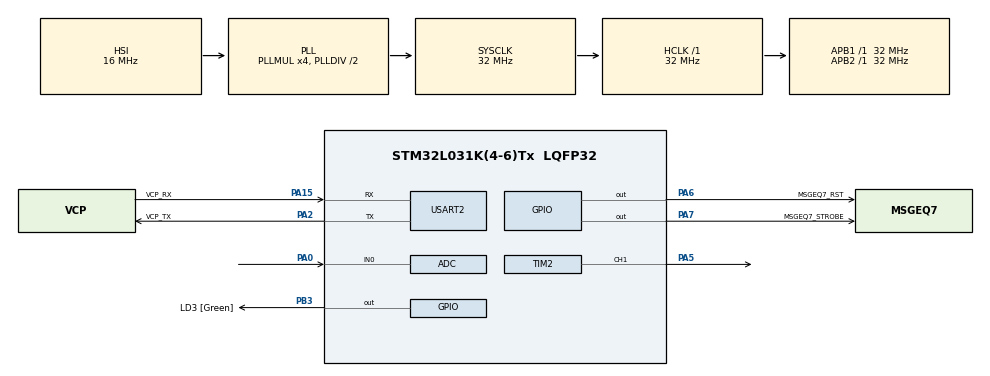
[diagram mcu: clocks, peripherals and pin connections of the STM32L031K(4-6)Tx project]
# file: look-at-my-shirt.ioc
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Dma.Request0=TIM2_CH1
Dma.TIM2_CH1.0.Direction=DMA_MEMORY_TO_PERIPH
Dma.TIM2_CH1.0.Instance=DMA1_Channel5
Dma.TIM2_CH1.0.MemDataAlignment=DMA_MDATAALIGN_BYTE
Dma.TIM2_CH1.0.MemInc=DMA_MINC_ENABLE
Dma.TIM2_CH1.0.Mode=DMA_NORMAL
Dma.TIM2_CH1.0.PeriphDataAlignment=DMA_PDATAALIGN_HALFWORD
Dma.TIM2_CH1.0.PeriphInc=DMA_PINC_DISABLE
Dma.TIM2_CH1.0.Priority=DMA_PRIORITY_LOW
Mcu.Family=STM32L0
Mcu.Name=STM32L031K(4-6)Tx
Mcu.Package=LQFP32
NVIC.DMA1_Channel4_5_6_7_IRQn=true\:0\:0\:false\:false\:true\:false\:true
PA0-CK_IN.Mode=IN0
PA0-CK_IN.Signal=ADC_IN0
PA13.GPIO_Label=TMS
PA13.Mode=Serial_Wire
PA13.Signal=SYS_SWDIO
PA14.GPIO_Label=TCK
PA14.Mode=Serial_Wire
PA14.Signal=SYS_SWCLK
PA15.GPIO_Label=VCP_RX
PA15.Mode=Asynchronous
PA15.Signal=USART2_RX
PA2.GPIO_Label=VCP_TX
PA2.Mode=Asynchronous
PA2.Signal=USART2_TX
PA5.Signal=S_TIM2_CH1
PA6.GPIO_Label=MSGEQ7_RST
PA6.Signal=GPIO_Output
PA7.GPIO_Label=MSGEQ7_STROBE
PA7.Signal=GPIO_Output
PB3.GPIO_Label=LD3 [Green]
PB3.Signal=GPIO_Output
PC14-OSC32_IN.Mode=LSE-External-Oscillator
PC14-OSC32_IN.Signal=RCC_OSC32_IN
PC15-OSC32_OUT.Mode=LSE-External-Oscillator
PC15-OSC32_OUT.Signal=RCC_OSC32_OUT
ProjectManager.HeapSize=0x200
ProjectManager.StackSize=0x400
ProjectManager.TargetToolchain=STM32CubeIDE
RCC.AHBFreq_Value=32000000
RCC.APB1Freq_Value=32000000
RCC.APB1TimFreq_Value=32000000
RCC.APB2Freq_Value=32000000
RCC.APB2TimFreq_Value=32000000
RCC.HCLKFreq_Value=32000000
RCC.HSE_VALUE=8000000
RCC.HSI16_VALUE=16000000
RCC.HSI48_VALUE=48000000
RCC.HSI_VALUE=16000000
RCC.MSI_VALUE=2097000
RCC.PLLMUL=RCC_PLLMUL_4
RCC.SYSCLKFreq_VALUE=32000000
RCC.SYSCLKSource=RCC_SYSCLKSOURCE_PLLCLK
RCC.VCOOutputFreq_Value=64000000
SH.S_TIM2_CH1.0=TIM2_CH1,PWM Generation1 CH1
TIM2.Channel-PWM\ Generation1\ CH1=TIM_CHANNEL_1
TIM2.Period=40-1
USART2.VirtualMode-Asynchronous=VM_ASYNC
board=NUCLEO-L031K6

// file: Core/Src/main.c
/* USER CODE BEGIN Header */
/**
 ******************************************************************************
 * @file           : main.c
 * @brief          : Main program body
 ******************************************************************************
 * @attention
 *
 * Copyright (c) 2023 STMicroelectronics.
 * All rights reserved.
 *
 * This software is licensed under terms that can be found in the LICENSE file
 * in the root directory of this software component.
 * If no LICENSE file comes with this software, it is provided AS-IS.
 *
 ******************************************************************************
 */
/* USER CODE END Header */
#include "main.h"

/* USER CODE BEGIN Includes */
#include <stdbool.h>
#include <stdlib.h>
/* USER CODE END Includes */

ADC_HandleTypeDef hadc;

TIM_HandleTypeDef htim2;
DMA_HandleTypeDef hdma_tim2_ch1;

#if 0
UART_HandleTypeDef huart2;
#endif

void SystemClock_Config(void);
static void MX_GPIO_Init(void);
static void MX_DMA_Init(void);
static void MX_TIM2_Init(void);
static void MX_USART2_UART_Init(void);
static void MX_ADC_Init(void);

/* USER CODE BEGIN 0 */
//select AUDIO_MODE mode or DVD mode
#define AUDIO_MODE 1

#define MAX_LED 256
volatile uint8_t datasentflag = 0;

#define RESET_TIME 1
#define TOTAL_SIZE (24*MAX_LED)+RESET_TIME
uint8_t pwm_data[TOTAL_SIZE] = { 0 };

void clear_all_leds(void) {
	for (int i = 0; i < TOTAL_SIZE - RESET_TIME; ++i) {
		pwm_data[i] = 14;
	}
}

void enable_led(uint8_t led_index, uint8_t red, uint8_t green, uint8_t blue) {
	uint32_t color = blue << 16 | red << 8 | green;
	uint8_t *pwm_data_ptr = &pwm_data[led_index * 24];
	for (int i = 23; i >= 0; i--) {
		if (color & (1 << i)) {
			pwm_data_ptr[i] = 26;  // 2/3 of 90
		}

		else
			pwm_data_ptr[i] = 14;  // 1/3 of 90
	}
}

bool send_ws2812() {
	HAL_TIM_PWM_Start_DMA(&htim2, TIM_CHANNEL_1, (uint32_t*) pwm_data,
	TOTAL_SIZE);
	while (!datasentflag) {
	};

	datasentflag = 0;
	return true;
}

/*!
 * Enable single led, disable all others led
 */
bool enable_single_led(uint8_t led_index, uint8_t red, uint8_t green,
		uint8_t blue) {

	clear_all_leds();
	enable_led(led_index, red, green, blue);
	return send_ws2812();
}

#define MAX_X 16
#define MAX_Y 16

uint8_t get_led_index_from_coordinate(uint8_t x, uint8_t y) {
	uint8_t led_index = 0;

	if (x >= MAX_X || y >= MAX_Y) {
		return false;
	}
	if (y % 2 == 0) {
		led_index = x + (y * MAX_X);
	} else {
		led_index = (y * MAX_X + (MAX_X - 1)) - x;
	}

	return led_index;
}
void HAL_TIM_PWM_PulseFinishedCallback(TIM_HandleTypeDef *htim) {
	HAL_TIM_PWM_Stop_DMA(&htim2, TIM_CHANNEL_1);
	datasentflag = 1;
}

static uint8_t random_color() {
	return rand() % 255 + 10;
}

static void change_color(uint8_t *red, uint8_t *green, uint8_t *blue) {
	*red = random_color();
	*green = random_color();
	*blue = random_color();
}

bool dvd_animation(void) {
	static uint8_t x = 5;
	static uint8_t y = 0;
	static uint8_t dir_y = 1;
	static uint8_t dir_x = 1;

	static uint8_t red = 255;
	static uint8_t green = 0;
	static uint8_t blue = 0;

	uint8_t led_index = get_led_index_from_coordinate(x, y);
	enable_single_led(led_index, red, green, blue);

	if (x >= (MAX_X - 2)) {
		change_color(&red, &green, &blue);
		dir_x = -1;
		if (dir_y == 1) {
			dir_y = 1;
		} else {
			dir_y = -1;
		}
	}
	if (y == (MAX_Y - 1)) {
		change_color(&red, &green, &blue);
		dir_y = -1;
		if (dir_x == 1) {
			dir_x = 1;
		} else {
			dir_x = -1;
		}
	}

	if (x == 1) {
		change_color(&red, &green, &blue);
		dir_x = 1;
		if (dir_y == 1) {
			dir_y = 1;
		} else {
			dir_y = -1;
		}

	}

	if (y == 0) {
		change_color(&red, &green, &blue);
		dir_y = 1;
		if (dir_x == 1) {
			dir_x = 1;
		} else {
			dir_x = -1;
		}

	}

	x += dir_x;
	y += dir_y;

	return true;
}

#if AUDIO_MODE
#define NUM_FRQ 7
uint8_t frequence_table[NUM_FRQ];

bool audio_animation(uint8_t frequence_table[NUM_FRQ]) {

	for (int frq_index = 0; frq_index < NUM_FRQ; ++frq_index) {
		int8_t amplitude = frequence_table[frq_index];
		amplitude = amplitude < 16 ? amplitude : 16;
		for (int amp = 0; amp < amplitude; ++amp) {
			int8_t led_index = get_led_index_from_coordinate(
					(frq_index * 2) + 2, amp);
			if (amp > 12) {
				enable_led(led_index, 0x60, 0, 0); //red
			} else if (amp > 7) {
				enable_led(led_index, 0x60, 0x60, 0); //orange
			} else {
				enable_led(led_index, 0, 0x60, 0); // green
			}
		}
	}
	send_ws2812();
	return true;

}

static void MSGEQ7_reset(void) {
	HAL_GPIO_WritePin(MSGEQ7_STROBE_GPIO_Port, MSGEQ7_STROBE_Pin, 1);
	HAL_GPIO_WritePin(MSGEQ7_RST_GPIO_Port, MSGEQ7_RST_Pin, 0);
	HAL_GPIO_WritePin(MSGEQ7_RST_GPIO_Port, MSGEQ7_RST_Pin, 1);
	HAL_Delay(1);
	HAL_GPIO_WritePin(MSGEQ7_RST_GPIO_Port, MSGEQ7_RST_Pin, 0);
}

static uint16_t read_adc(void) {
	HAL_ADC_Start(&hadc);
	HAL_ADC_PollForConversion(&hadc, 1);
	return HAL_ADC_GetValue(&hadc);
}
#endif

/* USER CODE END 0 */

int main(void) {

	/* MCU Configuration--------------------------------------------------------*/

	/* Reset of all peripherals, Initializes the Flash interface and the Systick. */
	HAL_Init();

	/* Configure the system clock */
	SystemClock_Config();

	/* Initialize all configured peripherals */
	MX_GPIO_Init();
	MX_DMA_Init();
	MX_TIM2_Init();
#if 0
	MX_USART2_UART_Init();
#endif
#if AUDIO_MODE
	MX_ADC_Init();
#endif

	/* Infinite loop */
	/* USER CODE BEGIN WHILE */
	while (1) {
#if AUDIO_MODE
		MSGEQ7_reset();
		uint8_t frq[7] = { 0 };
		for (int i = 0; i < 7; ++i) {
			HAL_GPIO_WritePin(MSGEQ7_STROBE_GPIO_Port, MSGEQ7_STROBE_Pin, 0);
			HAL_Delay(1);
			frq[i] = read_adc() / 200;
			HAL_GPIO_WritePin(MSGEQ7_STROBE_GPIO_Port, MSGEQ7_STROBE_Pin, 1);
			HAL_Delay(1);

		}
		clear_all_leds();
		audio_animation(frq);
		HAL_Delay(1);
#else
		dvd_animation();
		HAL_Delay(50);

#endif
		/* USER CODE END WHILE */

	}
}

void SystemClock_Config(void) {
	RCC_OscInitTypeDef RCC_OscInitStruct = { 0 };
	RCC_ClkInitTypeDef RCC_ClkInitStruct = { 0 };
	RCC_PeriphCLKInitTypeDef PeriphClkInit = { 0 };

	/** Configure the main internal regulator output voltage
	 */
	__HAL_PWR_VOLTAGESCALING_CONFIG(PWR_REGULATOR_VOLTAGE_SCALE1);
	/** Initializes the RCC Oscillators according to the specified parameters
	 * in the RCC_OscInitTypeDef structure.
	 */
	RCC_OscInitStruct.OscillatorType = RCC_OSCILLATORTYPE_HSI;
	RCC_OscInitStruct.HSIState = RCC_HSI_ON;
	RCC_OscInitStruct.HSICalibrationValue = RCC_HSICALIBRATION_DEFAULT;
	RCC_OscInitStruct.PLL.PLLState = RCC_PLL_ON;
	RCC_OscInitStruct.PLL.PLLSource = RCC_PLLSOURCE_HSI;
	RCC_OscInitStruct.PLL.PLLMUL = RCC_PLLMUL_4;
	RCC_OscInitStruct.PLL.PLLDIV = RCC_PLLDIV_2;
	if (HAL_RCC_OscConfig(&RCC_OscInitStruct) != HAL_OK) {
		Error_Handler();
	}
	/** Initializes the CPU, AHB and APB buses clocks
	 */
	RCC_ClkInitStruct.ClockType = RCC_CLOCKTYPE_HCLK | RCC_CLOCKTYPE_SYSCLK
			| RCC_CLOCKTYPE_PCLK1 | RCC_CLOCKTYPE_PCLK2;
	RCC_ClkInitStruct.SYSCLKSource = RCC_SYSCLKSOURCE_PLLCLK;
	RCC_ClkInitStruct.AHBCLKDivider = RCC_SYSCLK_DIV1;
	RCC_ClkInitStruct.APB1CLKDivider = RCC_HCLK_DIV1;
	RCC_ClkInitStruct.APB2CLKDivider = RCC_HCLK_DIV1;

	if (HAL_RCC_ClockConfig(&RCC_ClkInitStruct, FLASH_LATENCY_1) != HAL_OK) {
		Error_Handler();
	}
	PeriphClkInit.PeriphClockSelection = RCC_PERIPHCLK_USART2;
	PeriphClkInit.Usart2ClockSelection = RCC_USART2CLKSOURCE_PCLK1;
	if (HAL_RCCEx_PeriphCLKConfig(&PeriphClkInit) != HAL_OK) {
		Error_Handler();
	}
}
#if AUDIO_MODE
static void MX_ADC_Init(void) {

	ADC_ChannelConfTypeDef sConfig = { 0 };

	/** Configure the global features of the ADC (Clock, Resolution, Data Alignment and number of conversion)
	 */
	hadc.Instance = ADC1;
	hadc.Init.OversamplingMode = DISABLE;
	hadc.Init.ClockPrescaler = ADC_CLOCK_SYNC_PCLK_DIV2;
	hadc.Init.Resolution = ADC_RESOLUTION_12B;
	hadc.Init.SamplingTime = ADC_SAMPLETIME_1CYCLE_5;
	hadc.Init.ScanConvMode = ADC_SCAN_DIRECTION_FORWARD;
	hadc.Init.DataAlign = ADC_DATAALIGN_RIGHT;
	hadc.Init.ContinuousConvMode = DISABLE;
	hadc.Init.DiscontinuousConvMode = DISABLE;
	hadc.Init.ExternalTrigConvEdge = ADC_EXTERNALTRIGCONVEDGE_NONE;
	hadc.Init.ExternalTrigConv = ADC_SOFTWARE_START;
	hadc.Init.DMAContinuousRequests = DISABLE;
	hadc.Init.EOCSelection = ADC_EOC_SINGLE_CONV;
	hadc.Init.Overrun = ADC_OVR_DATA_PRESERVED;
	hadc.Init.LowPowerAutoWait = DISABLE;
	hadc.Init.LowPowerFrequencyMode = DISABLE;
	hadc.Init.LowPowerAutoPowerOff = DISABLE;
	if (HAL_ADC_Init(&hadc) != HAL_OK) {
		Error_Handler();
	}
	/** Configure for the selected ADC regular channel to be converted.
	 */
	sConfig.Channel = ADC_CHANNEL_0;
	sConfig.Rank = ADC_RANK_CHANNEL_NUMBER;
	if (HAL_ADC_ConfigChannel(&hadc, &sConfig) != HAL_OK) {
		Error_Handler();
	}

}
#endif
static void MX_TIM2_Init(void) {

	TIM_MasterConfigTypeDef sMasterConfig = { 0 };
	TIM_OC_InitTypeDef sConfigOC = { 0 };

	htim2.Instance = TIM2;
	htim2.Init.Prescaler = 0;
	htim2.Init.CounterMode = TIM_COUNTERMODE_UP;
	htim2.Init.Period = 40 - 1;
	htim2.Init.ClockDivision = TIM_CLOCKDIVISION_DIV1;
	htim2.Init.AutoReloadPreload = TIM_AUTORELOAD_PRELOAD_DISABLE;
	if (HAL_TIM_PWM_Init(&htim2) != HAL_OK) {
		Error_Handler();
	}
	sMasterConfig.MasterOutputTrigger = TIM_TRGO_RESET;
	sMasterConfig.MasterSlaveMode = TIM_MASTERSLAVEMODE_DISABLE;
	if (HAL_TIMEx_MasterConfigSynchronization(&htim2, &sMasterConfig)
			!= HAL_OK) {
		Error_Handler();
	}
	sConfigOC.OCMode = TIM_OCMODE_PWM1;
	sConfigOC.Pulse = 0;
	sConfigOC.OCPolarity = TIM_OCPOLARITY_HIGH;
	sConfigOC.OCFastMode = TIM_OCFAST_DISABLE;
	if (HAL_TIM_PWM_ConfigChannel(&htim2, &sConfigOC, TIM_CHANNEL_1)
			!= HAL_OK) {
		Error_Handler();
	}
	HAL_TIM_MspPostInit(&htim2);

}

#if 0
static void MX_USART2_UART_Init(void) {

	huart2.Instance = USART2;
	huart2.Init.BaudRate = 115200;
	huart2.Init.WordLength = UART_WORDLENGTH_8B;
	huart2.Init.StopBits = UART_STOPBITS_1;
	huart2.Init.Parity = UART_PARITY_NONE;
	huart2.Init.Mode = UART_MODE_TX_RX;
	huart2.Init.HwFlowCtl = UART_HWCONTROL_NONE;
	huart2.Init.OverSampling = UART_OVERSAMPLING_16;
	huart2.Init.OneBitSampling = UART_ONE_BIT_SAMPLE_DISABLE;
	huart2.AdvancedInit.AdvFeatureInit = UART_ADVFEATURE_NO_INIT;
	if (HAL_UART_Init(&huart2) != HAL_OK) {
		Error_Handler();
	}

}
#endif

static void MX_DMA_Init(void) {

	/* DMA controller clock enable */
	__HAL_RCC_DMA1_CLK_ENABLE();

	/* DMA interrupt init */
	/* DMA1_Channel4_5_6_7_IRQn interrupt configuration */
	HAL_NVIC_SetPriority(DMA1_Channel4_5_6_7_IRQn, 0, 0);
	HAL_NVIC_EnableIRQ(DMA1_Channel4_5_6_7_IRQn);

}

static void MX_GPIO_Init(void) {
	GPIO_InitTypeDef GPIO_InitStruct = { 0 };

	/* GPIO Ports Clock Enable */
	__HAL_RCC_GPIOC_CLK_ENABLE();
	__HAL_RCC_GPIOA_CLK_ENABLE();
	__HAL_RCC_GPIOB_CLK_ENABLE();

	/*Configure GPIO pin Output Level */
	HAL_GPIO_WritePin(GPIOA, MSGEQ7_RST_Pin | MSGEQ7_STROBE_Pin,
			GPIO_PIN_RESET);

	/*Configure GPIO pin Output Level */
	HAL_GPIO_WritePin(LD3_GPIO_Port, LD3_Pin, GPIO_PIN_RESET);

	/*Configure GPIO pins : MSGEQ7_RST_Pin MSGEQ7_STROBE_Pin */
	GPIO_InitStruct.Pin = MSGEQ7_RST_Pin | MSGEQ7_STROBE_Pin;
	GPIO_InitStruct.Mode = GPIO_MODE_OUTPUT_PP;
	GPIO_InitStruct.Pull = GPIO_NOPULL;
	GPIO_InitStruct.Speed = GPIO_SPEED_FREQ_LOW;
	HAL_GPIO_Init(GPIOA, &GPIO_InitStruct);

	/*Configure GPIO pin : LD3_Pin */
	GPIO_InitStruct.Pin = LD3_Pin;
	GPIO_InitStruct.Mode = GPIO_MODE_OUTPUT_PP;
	GPIO_InitStruct.Pull = GPIO_NOPULL;
	GPIO_InitStruct.Speed = GPIO_SPEED_FREQ_LOW;
	HAL_GPIO_Init(LD3_GPIO_Port, &GPIO_InitStruct);

}

void Error_Handler(void) {
	__disable_irq();
	while (1) {
	}
}
